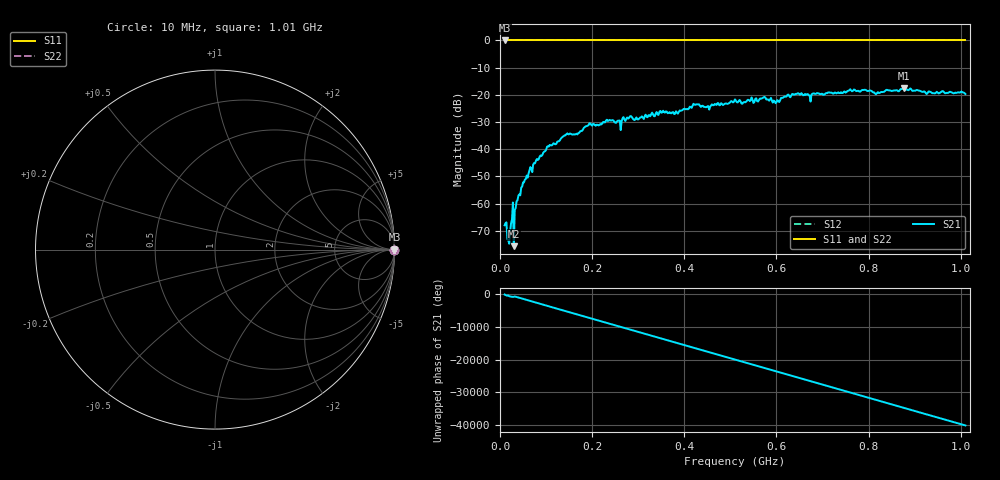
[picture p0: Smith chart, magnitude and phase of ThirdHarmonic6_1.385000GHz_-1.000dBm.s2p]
! 8/16/2025 3:45:43 PM
! C:\ANRITSUVNA\TEMP\TEMP.S2P
! CHANNEL.1
! TR.MEASUREMENT
! RAW.DATA
! RF.CORRECTION.OFF
! AVERAGING.OFF
! IF.BANDWIDTH: 5KHZ
! SWEEPTYPE:  FREQ.SWEEP(Linear)
! Reference Plane Port Info
! PORT:  PORT1  PORT2
! DISTANCE:  0  m  0  m
! TIME:  0  s  0  s
! PHASE.OFFSET:  0  deg.  0  deg.
! LOSS:  0  dB  0  dB
! REF.LOSS:  0  dB  0  dB
! REF.FREQ:  0  Hz  0  Hz
! Power Info
! POWER:  -20  dBm  -20  dBm
! EFF.POWER:  -20  dBm  -20  dBm
! SOURCE.ATTEN:  0  dB  0  dB
! TEST.ATTEN:  0  dB  0  dB
# GHZ S RI R 50.0
! FREQ.GHZ  S11RE  S11IM  S21RE  S21IM  S12RE  S12IM  S22RE  S22IM
!; PortSelection: Port_12
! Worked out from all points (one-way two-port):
!   501 points, 10 MHz to 1.01 GHz, reference 50 ohm
!   highest |S21| = -17.65 dB at 876 MHz (marker M1); lowest = -75.7 dB at 30 MHz (marker M2)
!   lowest |S11| = 0.0 dB at 10 MHz (marker M3)
!   |S11| at or under -10 dB: nowhere
!   |S22| runs from 0.0 to 0.0 dB; largest |S21 - S12| = 1.1
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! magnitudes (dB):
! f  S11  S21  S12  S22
! 10 MHz  0.0  -68.0  0.0  0.0
! 20 MHz  0.0  -74.8  0.0  0.0
! 24 MHz  0.0  -67.3  0.0  0.0
! 30 MHz  0.0  -75.7  0.0  0.0
! 34 MHz  0.0  -61.6  0.0  0.0
! 36 MHz  0.0  -59.2  0.0  0.0
! 50 MHz  0.0  -52.2  0.0  0.0
! 76 MHz  0.0  -45.2  0.0  0.0
! 106 MHz  0.0  -39.0  0.0  0.0
! 142 MHz  0.0  -34.9  0.0  0.0
! 178 MHz  0.0  -33.3  0.0  0.0
! 194 MHz  0.0  -30.5  0.0  0.0
! 260 MHz  0.0  -29.5  0.0  0.0
! 344 MHz  0.0  -27.4  0.0  0.0
! 510 MHz  0.0  -21.7  0.0  0.0
! 572 MHz  0.0  -20.9  0.0  0.0
! 602 MHz  0.0  -21.9  0.0  0.0
! 638 MHz  0.0  -20.0  0.0  0.0
! 678 MHz  0.0  -19.6  0.0  0.0
! 844 MHz  0.0  -18.3  0.0  0.0
! 876 MHz  0.0  -17.6  0.0  0.0
! 1.01 GHz  0.0  -19.7  0.0  0.0
